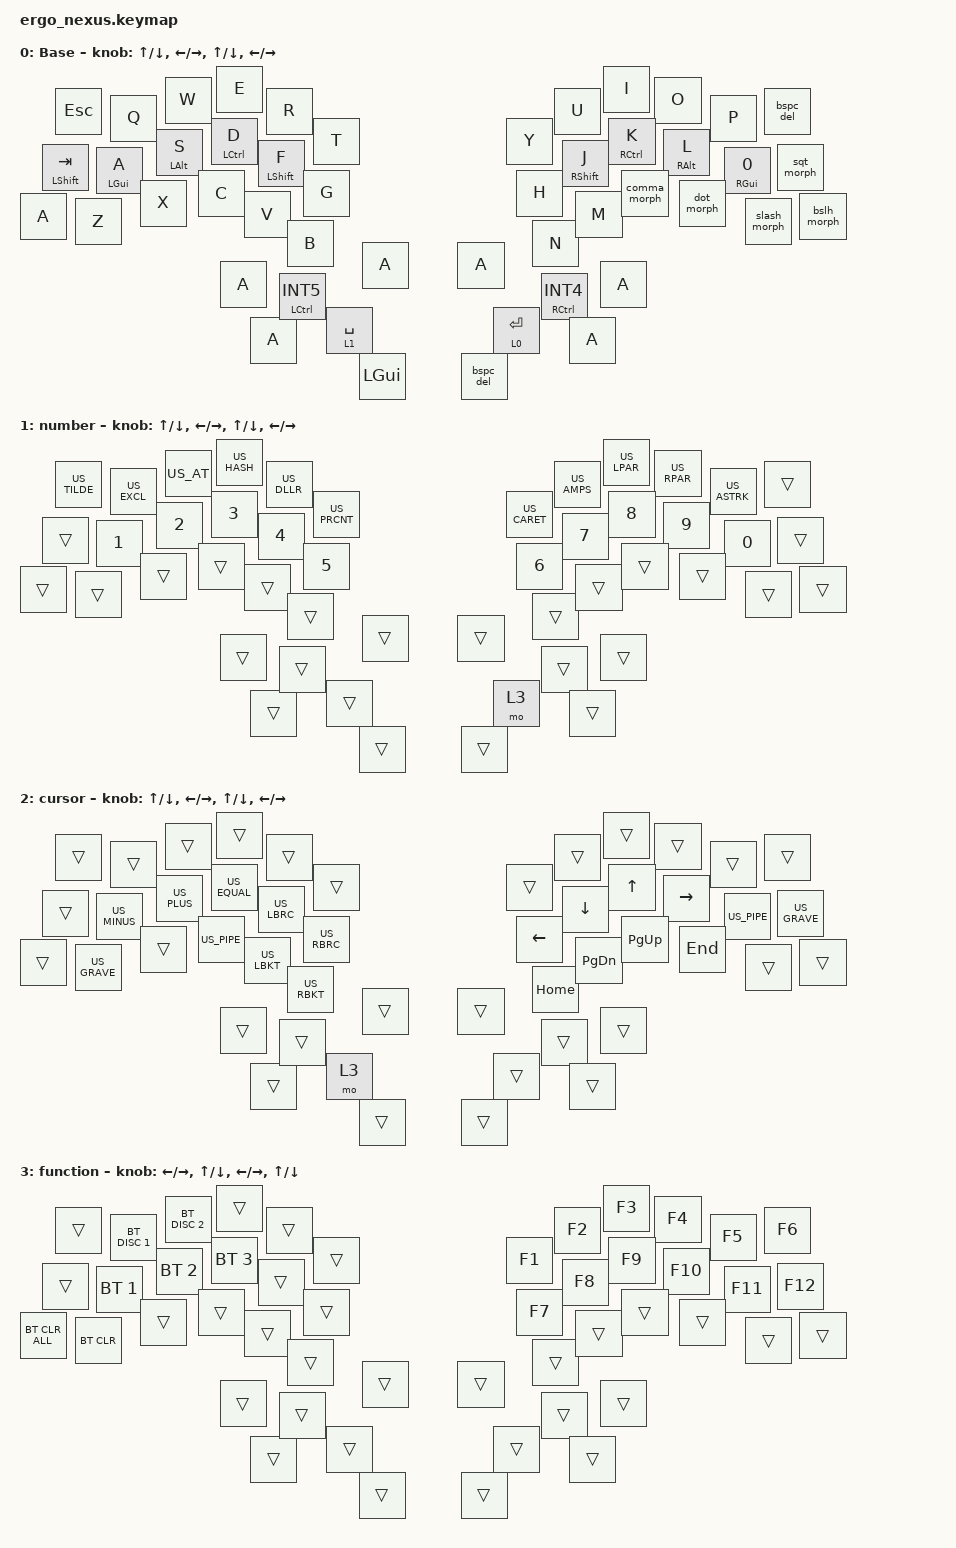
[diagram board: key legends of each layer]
#define ZMK_POINTING_DEFAULT_MOVE_VAL 1500  // default: 600
#define ZMK_POINTING_DEFAULT_SCRL_VAL 30    // default: 10

#include <dt-bindings/zmk/pointing.h>
#include <behaviors.dtsi>
#include "behaviors.dtsi"
#include <dt-bindings/zmk/keys.h>
#include <dt-bindings/zmk/mouse.h>
#include <dt-bindings/zmk/bt.h>
/ {
    keymap {
        compatible = "zmk,keymap";

        default_layer { // Layer 0
            display-name = "Base";
            bindings = <
&kp ESC    &kp Q    &kp W    &kp E    &kp R    &kp T          &kp Y    &kp U    &kp I     &kp O    &kp P    &bspc_del
&mt LSHIFT TAB     &hm LGUI A     &hm LALT S     &hm LCTRL D     &hm LSHIFT F     &kp G           &kp H     &hm RSHIFT J     &hm RCTRL K      &hm RALT L    &hm_semi RGUI 0    &sqt_morph
&kp A    &kp Z    &kp X    &kp C    &kp V    &kp B            &kp N    &kp M    &comma_morph    &dot_morph    &slash_morph    &bslh_morph
&kp A    &kp A    &kp A    &hm LCTRL INT5  &lt 1 SPACE  &kp LGUI       &bspc_del &lt_macro 0 ENTER   &hm RCTRL INT4    &kp A    &kp A   &kp A
            >;
            sensor-bindings = <
                &inc_dec_kp UP DOWN
                &inc_dec_kp LEFT RIGHT
                &inc_dec_kp UP DOWN
                &inc_dec_kp LEFT RIGHT
            >;
        };
        number_layer { // Layer 1
            display-name = "number";
            bindings = <
&kp US_TILDE &kp US_EXCL  &kp US_AT    &kp US_HASH  &kp US_DLLR  &kp US_PRCNT       &kp US_CARET &kp US_AMPS  &kp US_LPAR  &kp US_RPAR  &kp US_ASTRK &trans
&trans    &kp N1    &kp N2    &kp N3    &kp N4    &kp N5          &kp N6    &kp N7    &kp N8    &kp N9    &kp N0    &trans
&trans    &trans    &trans    &trans    &trans    &trans          &trans    &trans    &trans    &trans    &trans    &trans
&trans    &trans    &trans    &trans    &trans    &trans          &trans    &mo 3    &trans    &trans    &trans    &trans
            >;
            sensor-bindings = <
                &inc_dec_kp UP DOWN
                &inc_dec_kp LEFT RIGHT
                &inc_dec_kp UP DOWN
                &inc_dec_kp LEFT RIGHT
            >;
        };
        cursor_layer { // Layer 2
            display-name = "cursor";
            bindings = <
&trans    &trans    &trans    &trans    &trans    &trans          &trans    &trans    &trans    &trans    &trans    &trans
&trans    &kp US_MINUS &kp US_PLUS  &kp US_EQUAL &kp US_LBRC  &kp US_RBRC        &kp LEFT  &kp DOWN  &kp UP    &kp RIGHT &kp US_PIPE  &kp US_GRAVE
&trans    &kp US_GRAVE &trans    &kp US_PIPE  &kp US_LBKT  &kp US_RBKT        &kp HOME  &kp PG_DN &kp PG_UP &kp END   &trans    &trans
&trans    &trans    &trans    &trans    &mo 3       &trans       &trans    &trans    &trans    &trans    &trans    &trans
            >;
            sensor-bindings = <
                &inc_dec_kp UP DOWN
                &inc_dec_kp LEFT RIGHT
                &inc_dec_kp UP DOWN
                &inc_dec_kp LEFT RIGHT
            >;
        };
        function_layer { // Layer 3
            display-name = "function";
            bindings = <
&trans    &bt BT_DISC 1    &bt BT_DISC 2   &trans    &trans    &trans          &kp F1    &kp F2    &kp F3    &kp F4    &kp F5    &kp F6
&trans   &bt BT_SEL 1 &bt BT_SEL 2 &bt BT_SEL 3 &trans    &trans          &kp F7    &kp F8    &kp F9    &kp F10   &kp F11   &kp F12
&bt BT_CLR_ALL &bt BT_CLR    &trans    &trans    &trans    &trans          &trans    &trans    &trans    &trans    &trans    &trans
&trans    &trans    &trans    &trans    &trans    &trans          &trans    &trans    &trans    &trans    &trans    &trans
            >;
            sensor-bindings = <
                &inc_dec_kp LEFT RIGHT
                &inc_dec_kp UP DOWN
                &inc_dec_kp LEFT RIGHT
                &inc_dec_kp UP DOWN
            >;
        };
    };
 };

